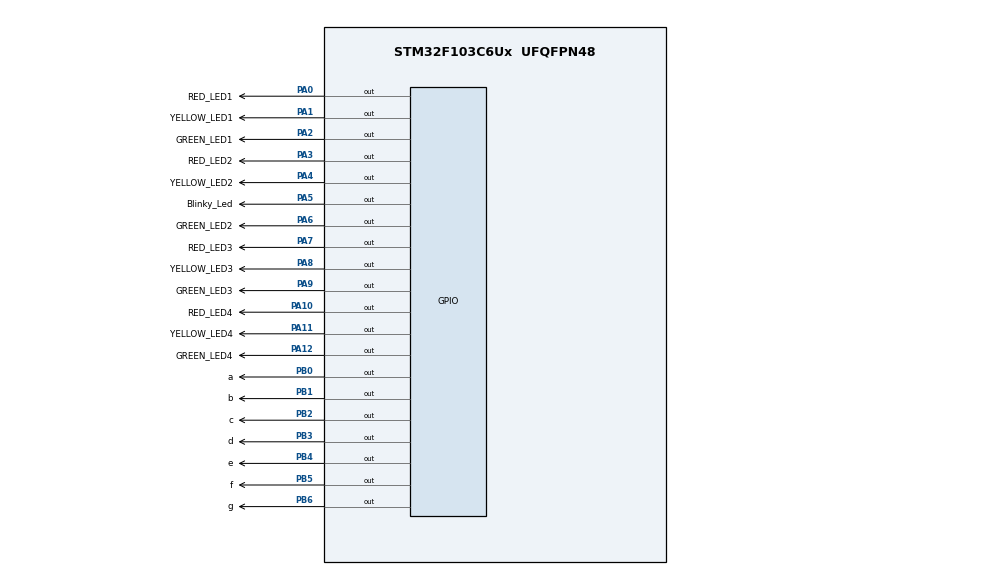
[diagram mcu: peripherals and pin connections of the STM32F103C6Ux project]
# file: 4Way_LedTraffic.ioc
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Mcu.Family=STM32F1
Mcu.Name=STM32F103C6Ux
Mcu.Package=UFQFPN48
NVIC.PriorityGroup=NVIC_PRIORITYGROUP_4
PA0-WKUP.GPIO_Label=RED_LED1
PA0-WKUP.Signal=GPIO_Output
PA1.GPIO_Label=YELLOW_LED1
PA1.Signal=GPIO_Output
PA10.GPIO_Label=RED_LED4
PA10.Signal=GPIO_Output
PA11.GPIO_Label=YELLOW_LED4
PA11.Signal=GPIO_Output
PA12.GPIO_Label=GREEN_LED4
PA12.Signal=GPIO_Output
PA2.GPIO_Label=GREEN_LED1
PA2.Signal=GPIO_Output
PA3.GPIO_Label=RED_LED2
PA3.Signal=GPIO_Output
PA4.GPIO_Label=YELLOW_LED2
PA4.Signal=GPIO_Output
PA5.GPIO_Label=Blinky_Led
PA5.Signal=GPIO_Output
PA6.GPIO_Label=GREEN_LED2
PA6.Signal=GPIO_Output
PA7.GPIO_Label=RED_LED3
PA7.Signal=GPIO_Output
PA8.GPIO_Label=YELLOW_LED3
PA8.Signal=GPIO_Output
PA9.GPIO_Label=GREEN_LED3
PA9.Signal=GPIO_Output
PB0.GPIO_Label=a
PB0.Signal=GPIO_Output
PB1.GPIO_Label=b
PB1.Signal=GPIO_Output
PB2.GPIO_Label=c
PB2.Signal=GPIO_Output
PB3.GPIO_Label=d
PB3.Signal=GPIO_Output
PB4.GPIO_Label=e
PB4.Signal=GPIO_Output
PB5.GPIO_Label=f
PB5.Signal=GPIO_Output
PB6.GPIO_Label=g
PB6.Signal=GPIO_Output
ProjectManager.HeapSize=0x200
ProjectManager.StackSize=0x400
ProjectManager.TargetToolchain=STM32CubeIDE
RCC.APB1Freq_Value=8000000
RCC.APB2Freq_Value=8000000
VP_SYS_VS_ND.Mode=No_Debug
board=custom

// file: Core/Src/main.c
/* USER CODE BEGIN Header */
/**
  ******************************************************************************
  * @file           : main.c
  * @brief          : Main program body
  ******************************************************************************
  * @attention
  *
  * <h2><center>&copy; Copyright (c) 2025 STMicroelectronics.
  * All rights reserved.</center></h2>
  *
  * This software component is licensed by ST under BSD 3-Clause license,
  * the "License"; You may not use this file except in compliance with the
  * License. You may obtain a copy of the License at:
  *                        opensource.org/licenses/BSD-3-Clause
  *
  ******************************************************************************
  */
/* USER CODE END Header */
#include "main.h"

void SystemClock_Config(void);
static void MX_GPIO_Init(void);

int main(void)
{
  /* USER CODE BEGIN 1 */
  void display7SEG (int num){
	  if (num == 0){
		  HAL_GPIO_WritePin(a_GPIO_Port, a_Pin, GPIO_PIN_RESET);
		  HAL_GPIO_WritePin(b_GPIO_Port, b_Pin, GPIO_PIN_RESET);
		  HAL_GPIO_WritePin(c_GPIO_Port, c_Pin, GPIO_PIN_RESET);
		  HAL_GPIO_WritePin(d_GPIO_Port, d_Pin, GPIO_PIN_RESET);
		  HAL_GPIO_WritePin(e_GPIO_Port, e_Pin, GPIO_PIN_RESET);
		  HAL_GPIO_WritePin(f_GPIO_Port, f_Pin, GPIO_PIN_RESET);
		  HAL_GPIO_WritePin(g_GPIO_Port, g_Pin, GPIO_PIN_SET);
	  }
	  else if (num == 1){
		  HAL_GPIO_WritePin(a_GPIO_Port, a_Pin, GPIO_PIN_SET);
		  HAL_GPIO_WritePin(b_GPIO_Port, b_Pin, GPIO_PIN_RESET);
		  HAL_GPIO_WritePin(c_GPIO_Port, c_Pin, GPIO_PIN_RESET);
		  HAL_GPIO_WritePin(d_GPIO_Port, d_Pin, GPIO_PIN_SET);
		  HAL_GPIO_WritePin(e_GPIO_Port, e_Pin, GPIO_PIN_SET);
		  HAL_GPIO_WritePin(f_GPIO_Port, f_Pin, GPIO_PIN_SET);
		  HAL_GPIO_WritePin(g_GPIO_Port, g_Pin, GPIO_PIN_SET);
	  }
	  else if (num == 2){
		  HAL_GPIO_WritePin(a_GPIO_Port, a_Pin, GPIO_PIN_RESET);
		  HAL_GPIO_WritePin(b_GPIO_Port, b_Pin, GPIO_PIN_RESET);
		  HAL_GPIO_WritePin(c_GPIO_Port, c_Pin, GPIO_PIN_SET);
		  HAL_GPIO_WritePin(d_GPIO_Port, d_Pin, GPIO_PIN_RESET);
		  HAL_GPIO_WritePin(e_GPIO_Port, e_Pin, GPIO_PIN_RESET);
		  HAL_GPIO_WritePin(f_GPIO_Port, f_Pin, GPIO_PIN_SET);
		  HAL_GPIO_WritePin(g_GPIO_Port, g_Pin, GPIO_PIN_RESET);
	  }
	  else if (num == 3){
		  HAL_GPIO_WritePin(a_GPIO_Port, a_Pin, GPIO_PIN_RESET);
		  HAL_GPIO_WritePin(b_GPIO_Port, b_Pin, GPIO_PIN_RESET);
		  HAL_GPIO_WritePin(c_GPIO_Port, c_Pin, GPIO_PIN_RESET);
		  HAL_GPIO_WritePin(d_GPIO_Port, d_Pin, GPIO_PIN_RESET);
		  HAL_GPIO_WritePin(e_GPIO_Port, e_Pin, GPIO_PIN_SET);
		  HAL_GPIO_WritePin(f_GPIO_Port, f_Pin, GPIO_PIN_SET);
		  HAL_GPIO_WritePin(g_GPIO_Port, g_Pin, GPIO_PIN_RESET);
	  }
	  else if (num == 4){
		  HAL_GPIO_WritePin(a_GPIO_Port, a_Pin, GPIO_PIN_SET);
		  HAL_GPIO_WritePin(b_GPIO_Port, b_Pin, GPIO_PIN_RESET);
		  HAL_GPIO_WritePin(c_GPIO_Port, c_Pin, GPIO_PIN_RESET);
		  HAL_GPIO_WritePin(d_GPIO_Port, d_Pin, GPIO_PIN_SET);
		  HAL_GPIO_WritePin(e_GPIO_Port, e_Pin, GPIO_PIN_SET);
		  HAL_GPIO_WritePin(f_GPIO_Port, f_Pin, GPIO_PIN_RESET);
		  HAL_GPIO_WritePin(g_GPIO_Port, g_Pin, GPIO_PIN_RESET);
	  }
	  else if (num == 5){
		  HAL_GPIO_WritePin(a_GPIO_Port, a_Pin, GPIO_PIN_RESET);
		  HAL_GPIO_WritePin(b_GPIO_Port, b_Pin, GPIO_PIN_SET);
		  HAL_GPIO_WritePin(c_GPIO_Port, c_Pin, GPIO_PIN_RESET);
		  HAL_GPIO_WritePin(d_GPIO_Port, d_Pin, GPIO_PIN_RESET);
		  HAL_GPIO_WritePin(e_GPIO_Port, e_Pin, GPIO_PIN_SET);
		  HAL_GPIO_WritePin(f_GPIO_Port, f_Pin, GPIO_PIN_RESET);
		  HAL_GPIO_WritePin(g_GPIO_Port, g_Pin, GPIO_PIN_RESET);
	  }
	  else if (num == 6){
		  HAL_GPIO_WritePin(a_GPIO_Port, a_Pin, GPIO_PIN_RESET);
		  HAL_GPIO_WritePin(b_GPIO_Port, b_Pin, GPIO_PIN_SET);
		  HAL_GPIO_WritePin(c_GPIO_Port, c_Pin, GPIO_PIN_RESET);
		  HAL_GPIO_WritePin(d_GPIO_Port, d_Pin, GPIO_PIN_RESET);
		  HAL_GPIO_WritePin(e_GPIO_Port, e_Pin, GPIO_PIN_RESET);
		  HAL_GPIO_WritePin(f_GPIO_Port, f_Pin, GPIO_PIN_RESET);
		  HAL_GPIO_WritePin(g_GPIO_Port, g_Pin, GPIO_PIN_RESET);
	  }
	  else if (num == 7){
		  HAL_GPIO_WritePin(a_GPIO_Port, a_Pin, GPIO_PIN_RESET);
		  HAL_GPIO_WritePin(b_GPIO_Port, b_Pin, GPIO_PIN_RESET);
		  HAL_GPIO_WritePin(c_GPIO_Port, c_Pin, GPIO_PIN_RESET);
		  HAL_GPIO_WritePin(d_GPIO_Port, d_Pin, GPIO_PIN_SET);
		  HAL_GPIO_WritePin(e_GPIO_Port, e_Pin, GPIO_PIN_SET);
		  HAL_GPIO_WritePin(f_GPIO_Port, f_Pin, GPIO_PIN_SET);
		  HAL_GPIO_WritePin(g_GPIO_Port, g_Pin, GPIO_PIN_SET);
	  }
	  else if (num == 8){
		  HAL_GPIO_WritePin(a_GPIO_Port, a_Pin, GPIO_PIN_RESET);
	      HAL_GPIO_WritePin(b_GPIO_Port, b_Pin, GPIO_PIN_RESET);
		  HAL_GPIO_WritePin(c_GPIO_Port, c_Pin, GPIO_PIN_RESET);
		  HAL_GPIO_WritePin(d_GPIO_Port, d_Pin, GPIO_PIN_RESET);
		  HAL_GPIO_WritePin(e_GPIO_Port, e_Pin, GPIO_PIN_RESET);
		  HAL_GPIO_WritePin(f_GPIO_Port, f_Pin, GPIO_PIN_RESET);
		  HAL_GPIO_WritePin(g_GPIO_Port, g_Pin, GPIO_PIN_RESET);
	  }
	  else if (num == 9){
		  HAL_GPIO_WritePin(a_GPIO_Port, a_Pin, GPIO_PIN_RESET);
		  HAL_GPIO_WritePin(b_GPIO_Port, b_Pin, GPIO_PIN_RESET);
		  HAL_GPIO_WritePin(c_GPIO_Port, c_Pin, GPIO_PIN_RESET);
		  HAL_GPIO_WritePin(d_GPIO_Port, d_Pin, GPIO_PIN_RESET);
		  HAL_GPIO_WritePin(e_GPIO_Port, e_Pin, GPIO_PIN_SET);
		  HAL_GPIO_WritePin(f_GPIO_Port, f_Pin, GPIO_PIN_RESET);
		  HAL_GPIO_WritePin(g_GPIO_Port, g_Pin, GPIO_PIN_RESET);
	  }
  };
  	  int phase = 0;    // 0: NS Green, 1: NS Yellow, 2: EW Green, 3: EW Yellow
  	  int counter = 3;  // thời gian đếm ngược của phase
  /* USER CODE END 1 */

  /* MCU Configuration--------------------------------------------------------*/

  /* Reset of all peripherals, Initializes the Flash interface and the Systick. */
  HAL_Init();

  /* Configure the system clock */
  SystemClock_Config();

  /* Initialize all configured peripherals */
  MX_GPIO_Init();
  /* USER CODE BEGIN 2 */
  HAL_GPIO_WritePin(RED_LED1_GPIO_Port, RED_LED1_Pin, GPIO_PIN_SET);
  HAL_GPIO_WritePin(YELLOW_LED1_GPIO_Port, YELLOW_LED1_Pin, GPIO_PIN_SET);
  HAL_GPIO_WritePin(GREEN_LED1_GPIO_Port, GREEN_LED1_Pin, GPIO_PIN_SET);
  HAL_GPIO_WritePin(RED_LED2_GPIO_Port, RED_LED2_Pin, GPIO_PIN_SET);
  HAL_GPIO_WritePin(YELLOW_LED2_GPIO_Port, YELLOW_LED2_Pin, GPIO_PIN_SET);
  HAL_GPIO_WritePin(GREEN_LED2_GPIO_Port, GREEN_LED2_Pin, GPIO_PIN_SET);
  HAL_GPIO_WritePin(RED_LED3_GPIO_Port, RED_LED3_Pin, GPIO_PIN_SET);
  HAL_GPIO_WritePin(YELLOW_LED3_GPIO_Port, YELLOW_LED3_Pin, GPIO_PIN_SET);
  HAL_GPIO_WritePin(GREEN_LED3_GPIO_Port, GREEN_LED3_Pin, GPIO_PIN_SET);
  HAL_GPIO_WritePin(RED_LED4_GPIO_Port, RED_LED4_Pin, GPIO_PIN_SET);
  HAL_GPIO_WritePin(YELLOW_LED4_GPIO_Port, YELLOW_LED4_Pin, GPIO_PIN_SET);
  HAL_GPIO_WritePin(GREEN_LED4_GPIO_Port, GREEN_LED4_Pin, GPIO_PIN_SET);
  HAL_GPIO_WritePin(a_GPIO_Port, a_Pin, GPIO_PIN_SET);
  HAL_GPIO_WritePin(b_GPIO_Port, b_Pin, GPIO_PIN_SET);
  HAL_GPIO_WritePin(c_GPIO_Port, c_Pin, GPIO_PIN_SET);
  HAL_GPIO_WritePin(d_GPIO_Port, d_Pin, GPIO_PIN_SET);
  HAL_GPIO_WritePin(e_GPIO_Port, e_Pin, GPIO_PIN_SET);
  HAL_GPIO_WritePin(f_GPIO_Port, f_Pin, GPIO_PIN_SET);
  HAL_GPIO_WritePin(g_GPIO_Port, g_Pin, GPIO_PIN_SET);
  HAL_GPIO_WritePin(Blinky_Led_GPIO_Port, Blinky_Led_Pin, GPIO_PIN_RESET);

  /* USER CODE END 2 */

  /* Infinite loop */
  /* USER CODE BEGIN WHILE */
  while (1)
  {
	  switch (phase)
	      {
	  case 0: // NS Red (5s đang đếm dần), EW Green (3s)
	              // LED1 + LED3: Red
	              HAL_GPIO_WritePin(RED_LED1_GPIO_Port, RED_LED1_Pin, RESET);
	              HAL_GPIO_WritePin(YELLOW_LED1_GPIO_Port, YELLOW_LED1_Pin, SET);
	              HAL_GPIO_WritePin(GREEN_LED1_GPIO_Port, GREEN_LED1_Pin, SET);

	              HAL_GPIO_WritePin(RED_LED3_GPIO_Port, RED_LED3_Pin, RESET);
	              HAL_GPIO_WritePin(YELLOW_LED3_GPIO_Port, YELLOW_LED3_Pin, SET);
	              HAL_GPIO_WritePin(GREEN_LED3_GPIO_Port, GREEN_LED3_Pin, SET);

	              // LED2 + LED4: Green
	              HAL_GPIO_WritePin(RED_LED2_GPIO_Port, RED_LED2_Pin, SET);
	              HAL_GPIO_WritePin(YELLOW_LED2_GPIO_Port, YELLOW_LED2_Pin, SET);
	              HAL_GPIO_WritePin(GREEN_LED2_GPIO_Port, GREEN_LED2_Pin, RESET);

	              HAL_GPIO_WritePin(RED_LED4_GPIO_Port, RED_LED4_Pin, SET);
	              HAL_GPIO_WritePin(YELLOW_LED4_GPIO_Port, YELLOW_LED4_Pin, SET);
	              HAL_GPIO_WritePin(GREEN_LED4_GPIO_Port, GREEN_LED4_Pin, RESET);
	              break;

	          case 1: // NS Red, EW Yellow (2s)
	              // LED1 + LED3: Red
	              HAL_GPIO_WritePin(RED_LED1_GPIO_Port, RED_LED1_Pin, RESET);
	              HAL_GPIO_WritePin(YELLOW_LED1_GPIO_Port, YELLOW_LED1_Pin, SET);
	              HAL_GPIO_WritePin(GREEN_LED1_GPIO_Port, GREEN_LED1_Pin, SET);

	              HAL_GPIO_WritePin(RED_LED3_GPIO_Port, RED_LED3_Pin, RESET);
	              HAL_GPIO_WritePin(YELLOW_LED3_GPIO_Port, YELLOW_LED3_Pin, SET);
	              HAL_GPIO_WritePin(GREEN_LED3_GPIO_Port, GREEN_LED3_Pin, SET);

	              // LED2 + LED4: Yellow
	              HAL_GPIO_WritePin(RED_LED2_GPIO_Port, RED_LED2_Pin, SET);
	              HAL_GPIO_WritePin(YELLOW_LED2_GPIO_Port, YELLOW_LED2_Pin, RESET);
	              HAL_GPIO_WritePin(GREEN_LED2_GPIO_Port, GREEN_LED2_Pin, SET);

	              HAL_GPIO_WritePin(RED_LED4_GPIO_Port, RED_LED4_Pin, SET);
	              HAL_GPIO_WritePin(YELLOW_LED4_GPIO_Port, YELLOW_LED4_Pin, RESET);
	              HAL_GPIO_WritePin(GREEN_LED4_GPIO_Port, GREEN_LED4_Pin, SET);
	              break;

	          case 2: // NS Green (3s), EW Red
	              // LED1 + LED3: Green
	              HAL_GPIO_WritePin(RED_LED1_GPIO_Port, RED_LED1_Pin, SET);
	              HAL_GPIO_WritePin(YELLOW_LED1_GPIO_Port, YELLOW_LED1_Pin, SET);
	              HAL_GPIO_WritePin(GREEN_LED1_GPIO_Port, GREEN_LED1_Pin, RESET);

	              HAL_GPIO_WritePin(RED_LED3_GPIO_Port, RED_LED3_Pin, SET);
	              HAL_GPIO_WritePin(YELLOW_LED3_GPIO_Port, YELLOW_LED3_Pin, SET);
	              HAL_GPIO_WritePin(GREEN_LED3_GPIO_Port, GREEN_LED3_Pin, RESET);

	              // LED2 + LED4: Red
	              HAL_GPIO_WritePin(RED_LED2_GPIO_Port, RED_LED2_Pin, RESET);
	              HAL_GPIO_WritePin(YELLOW_LED2_GPIO_Port, YELLOW_LED2_Pin, SET);
	              HAL_GPIO_WritePin(GREEN_LED2_GPIO_Port, GREEN_LED2_Pin, SET);

	              HAL_GPIO_WritePin(RED_LED4_GPIO_Port, RED_LED4_Pin, RESET);
	              HAL_GPIO_WritePin(YELLOW_LED4_GPIO_Port, YELLOW_LED4_Pin, SET);
	              HAL_GPIO_WritePin(GREEN_LED4_GPIO_Port, GREEN_LED4_Pin, SET);
	              break;

	          case 3: // NS Yellow (2s), EW Red
	              // LED1 + LED3: Yellow
	              HAL_GPIO_WritePin(RED_LED1_GPIO_Port, RED_LED1_Pin, SET);
	              HAL_GPIO_WritePin(YELLOW_LED1_GPIO_Port, YELLOW_LED1_Pin, RESET);
	              HAL_GPIO_WritePin(GREEN_LED1_GPIO_Port, GREEN_LED1_Pin, SET);

	              HAL_GPIO_WritePin(RED_LED3_GPIO_Port, RED_LED3_Pin, SET);
	              HAL_GPIO_WritePin(YELLOW_LED3_GPIO_Port, YELLOW_LED3_Pin, RESET);
	              HAL_GPIO_WritePin(GREEN_LED3_GPIO_Port, GREEN_LED3_Pin, SET);

	              // LED2 + LED4: Red
	              HAL_GPIO_WritePin(RED_LED2_GPIO_Port, RED_LED2_Pin, RESET);
	              HAL_GPIO_WritePin(YELLOW_LED2_GPIO_Port, YELLOW_LED2_Pin, SET);
	              HAL_GPIO_WritePin(GREEN_LED2_GPIO_Port, GREEN_LED2_Pin, SET);

	              HAL_GPIO_WritePin(RED_LED4_GPIO_Port, RED_LED4_Pin, RESET);
	              HAL_GPIO_WritePin(YELLOW_LED4_GPIO_Port, YELLOW_LED4_Pin, SET);
	              HAL_GPIO_WritePin(GREEN_LED4_GPIO_Port, GREEN_LED4_Pin, SET);
	              break;
	      }

	      display7SEG(counter);

	      HAL_Delay(1000);

	      counter--;

	      if (counter < 0)
	      {
	          phase = (phase + 1) % 4;

	          if (phase == 0 || phase == 2) counter = 3;  // Green: 3s
	          else if (phase == 1 || phase == 3) counter = 2; // Yellow: 2s
	      }
	};

    /* USER CODE END WHILE */
  }

void SystemClock_Config(void)
{
  RCC_OscInitTypeDef RCC_OscInitStruct = {0};
  RCC_ClkInitTypeDef RCC_ClkInitStruct = {0};

  /** Initializes the RCC Oscillators according to the specified parameters
  * in the RCC_OscInitTypeDef structure.
  */
  RCC_OscInitStruct.OscillatorType = RCC_OSCILLATORTYPE_HSI;
  RCC_OscInitStruct.HSIState = RCC_HSI_ON;
  RCC_OscInitStruct.HSICalibrationValue = RCC_HSICALIBRATION_DEFAULT;
  RCC_OscInitStruct.PLL.PLLState = RCC_PLL_NONE;
  if (HAL_RCC_OscConfig(&RCC_OscInitStruct) != HAL_OK)
  {
    Error_Handler();
  }
  /** Initializes the CPU, AHB and APB buses clocks
  */
  RCC_ClkInitStruct.ClockType = RCC_CLOCKTYPE_HCLK|RCC_CLOCKTYPE_SYSCLK
                              |RCC_CLOCKTYPE_PCLK1|RCC_CLOCKTYPE_PCLK2;
  RCC_ClkInitStruct.SYSCLKSource = RCC_SYSCLKSOURCE_HSI;
  RCC_ClkInitStruct.AHBCLKDivider = RCC_SYSCLK_DIV1;
  RCC_ClkInitStruct.APB1CLKDivider = RCC_HCLK_DIV1;
  RCC_ClkInitStruct.APB2CLKDivider = RCC_HCLK_DIV1;

  if (HAL_RCC_ClockConfig(&RCC_ClkInitStruct, FLASH_LATENCY_0) != HAL_OK)
  {
    Error_Handler();
  }
}

static void MX_GPIO_Init(void)
{
  GPIO_InitTypeDef GPIO_InitStruct = {0};

  /* GPIO Ports Clock Enable */
  __HAL_RCC_GPIOA_CLK_ENABLE();
  __HAL_RCC_GPIOB_CLK_ENABLE();

  /*Configure GPIO pin Output Level */
  HAL_GPIO_WritePin(GPIOA, RED_LED1_Pin|YELLOW_LED1_Pin|GREEN_LED1_Pin|RED_LED2_Pin
                          |YELLOW_LED2_Pin|Blinky_Led_Pin|GREEN_LED2_Pin|RED_LED3_Pin
                          |YELLOW_LED3_Pin|GREEN_LED3_Pin|RED_LED4_Pin|YELLOW_LED4_Pin
                          |GREEN_LED4_Pin, GPIO_PIN_RESET);

  /*Configure GPIO pin Output Level */
  HAL_GPIO_WritePin(GPIOB, a_Pin|b_Pin|c_Pin|d_Pin
                          |e_Pin|f_Pin|g_Pin, GPIO_PIN_RESET);

  /*Configure GPIO pins : RED_LED1_Pin YELLOW_LED1_Pin GREEN_LED1_Pin RED_LED2_Pin
                           YELLOW_LED2_Pin Blinky_Led_Pin GREEN_LED2_Pin RED_LED3_Pin
                           YELLOW_LED3_Pin GREEN_LED3_Pin RED_LED4_Pin YELLOW_LED4_Pin
                           GREEN_LED4_Pin */
  GPIO_InitStruct.Pin = RED_LED1_Pin|YELLOW_LED1_Pin|GREEN_LED1_Pin|RED_LED2_Pin
                          |YELLOW_LED2_Pin|Blinky_Led_Pin|GREEN_LED2_Pin|RED_LED3_Pin
                          |YELLOW_LED3_Pin|GREEN_LED3_Pin|RED_LED4_Pin|YELLOW_LED4_Pin
                          |GREEN_LED4_Pin;
  GPIO_InitStruct.Mode = GPIO_MODE_OUTPUT_PP;
  GPIO_InitStruct.Pull = GPIO_NOPULL;
  GPIO_InitStruct.Speed = GPIO_SPEED_FREQ_LOW;
  HAL_GPIO_Init(GPIOA, &GPIO_InitStruct);

  /*Configure GPIO pins : a_Pin b_Pin c_Pin d_Pin
                           e_Pin f_Pin g_Pin */
  GPIO_InitStruct.Pin = a_Pin|b_Pin|c_Pin|d_Pin
                          |e_Pin|f_Pin|g_Pin;
  GPIO_InitStruct.Mode = GPIO_MODE_OUTPUT_PP;
  GPIO_InitStruct.Pull = GPIO_NOPULL;
  GPIO_InitStruct.Speed = GPIO_SPEED_FREQ_LOW;
  HAL_GPIO_Init(GPIOB, &GPIO_InitStruct);

}

void Error_Handler(void)
{
  __disable_irq();
  while (1)
  {
  }
}

/************************ (C) COPYRIGHT STMicroelectronics *****END OF FILE****/
